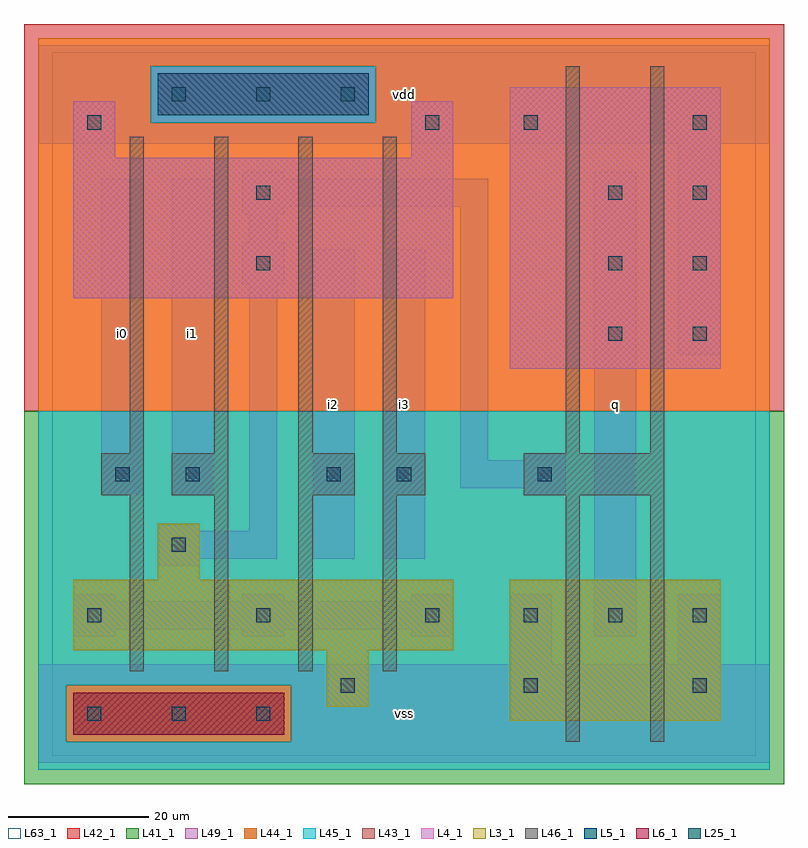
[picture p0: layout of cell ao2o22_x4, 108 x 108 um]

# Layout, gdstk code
import gdstk
lib = gdstk.Library(unit=1e-6, precision=1e-09)
def R(c, l, rs):  # rectangles x0, y0, x1, y1
    for r in rs: c.add(gdstk.rectangle(r[:2], r[2:], *l))
def A(c, l, x, y, w, h, nx, ny, dx, dy):  # array of equal rectangles
    R(c, l, [(x+i*dx, y+j*dy, x+i*dx+w, y+j*dy+h) for i in range(nx) for j in range(ny)])
L3_1 = (3, 1)
L4_1 = (4, 1)
L5_1 = (5, 1)
L6_1 = (6, 1)
L25_1 = (25, 1)
L41_1 = (41, 1)
L42_1 = (42, 1)
L43_1 = (43, 1)
L44_1 = (44, 1)
L45_1 = (45, 1)
L46_1 = (46, 1)
L49_1 = (49, 1)
L63_1 = (63, 1)

ao2o22_x4 = lib.new_cell('ao2o22_x4')
R(ao2o22_x4, L3_1, [(65,5,95,25), (39,7,45,15), (3,15,57,25), (15,25,21,33)])
R(ao2o22_x4, L4_1, [(65,55,95,95), (3,65,57,85), (3,85,9,93), (51,85,57,93)])
R(ao2o22_x4, L5_1, [(15,91,45,97)])
R(ao2o22_x4, L6_1, [(3,3,33,9)])
A(ao2o22_x4, L25_1, 5, 5, 2, 2, 3, 1, 12, 0)
A(ao2o22_x4, L25_1, 5, 19, 2, 2, 3, 1, 24, 0)
A(ao2o22_x4, L25_1, 67, 19, 2, 2, 3, 1, 12, 0)
A(ao2o22_x4, L25_1, 79, 59, 2, 2, 1, 3, 0, 10)
A(ao2o22_x4, L25_1, 91, 59, 2, 2, 1, 4, 0, 10)
A(ao2o22_x4, L25_1, 17, 93, 2, 2, 3, 1, 12, 0)
R(ao2o22_x4, L25_1, [(41,9,43,11), (67,9,69,11), (91,9,93,11), (17,29,19,31), (9,39,11,41), (19,39,21,41), (39,39,41,41), (49,39,51,41), (69,39,71,41), (29,69,31,71), (29,79,31,81), (5,89,7,91), (53,89,55,91), (67,89,69,91)])
R(ao2o22_x4, L41_1, [(-4,-4,104,49)])
R(ao2o22_x4, L42_1, [(-4,49,104,104)])
R(ao2o22_x4, L43_1, [(3,3,33,9), (65,5,95,25), (39,7,45,15), (3,15,57,25), (15,25,21,33), (65,55,95,95), (3,65,57,85), (3,85,9,93), (51,85,57,93), (15,91,45,97)])
R(ao2o22_x4, L44_1, [(2,2,34,10), (-2,49,102,90), (-2,90,14,98), (46,90,102,98), (-2,98,102,102)])
R(ao2o22_x4, L45_1, [(-2,-2,102,2), (-2,2,2,10), (34,2,102,10), (-2,10,102,49), (14,90,46,98)])
A(ao2o22_x4, L46_1, 11, 12, 2, 25, 4, 1, 12, 0)
A(ao2o22_x4, L46_1, 11, 43, 2, 45, 4, 1, 12, 0)
R(ao2o22_x4, L46_1, [(73,2,75,37), (85,2,87,37), (7,37,13,43), (17,37,25,43), (35,37,43,43), (47,37,53,43), (67,37,87,43), (73,43,75,98), (85,43,87,98)])
A(ao2o22_x4, L49_1, 3, 17, 6, 1, 3, 2, 24, 5)
R(ao2o22_x4, L49_1, [(-2,-1,102,13), (65,13,71,23), (89,13,95,23), (77,17,83,83), (3,18,57,22), (15,27,21,28), (15,28,32,32), (37,28,43,72), (47,28,53,72), (15,32,21,33), (28,32,32,67), (7,37,13,82), (17,37,23,82), (67,37,73,38), (58,38,73,42), (58,42,62,78), (67,42,73,43), (89,57,95,87), (27,67,33,73), (28,73,32,77), (27,77,33,78), (27,78,62,82), (27,82,33,83), (-2,87,102,101)])
R(ao2o22_x4, L63_1, [(0,0,100,100)])
ao2o22_x4.add(gdstk.Label('i1', (20,60), layer=49, texttype=1))
ao2o22_x4.add(gdstk.Label('i0', (10,60), layer=49, texttype=1))
ao2o22_x4.add(gdstk.Label('i1', (20,60), layer=49, texttype=1))
ao2o22_x4.add(gdstk.Label('i0', (10,60), layer=49, texttype=1))
ao2o22_x4.add(gdstk.Label('i2', (40,50), layer=49, texttype=1))
ao2o22_x4.add(gdstk.Label('i2', (40,50), layer=49, texttype=1))
ao2o22_x4.add(gdstk.Label('vss', (50,6), layer=49, texttype=1))
ao2o22_x4.add(gdstk.Label('vss', (50,6), layer=49, texttype=1))
ao2o22_x4.add(gdstk.Label('i3', (50,50), layer=49, texttype=1))
ao2o22_x4.add(gdstk.Label('i3', (50,50), layer=49, texttype=1))
ao2o22_x4.add(gdstk.Label('vdd', (50,94), layer=49, texttype=1))
ao2o22_x4.add(gdstk.Label('vdd', (50,94), layer=49, texttype=1))
ao2o22_x4.add(gdstk.Label('q', (80,50), layer=49, texttype=1))
ao2o22_x4.add(gdstk.Label('q', (80,50), layer=49, texttype=1))

lib.write_gds('ao2o22_x4.gds')
